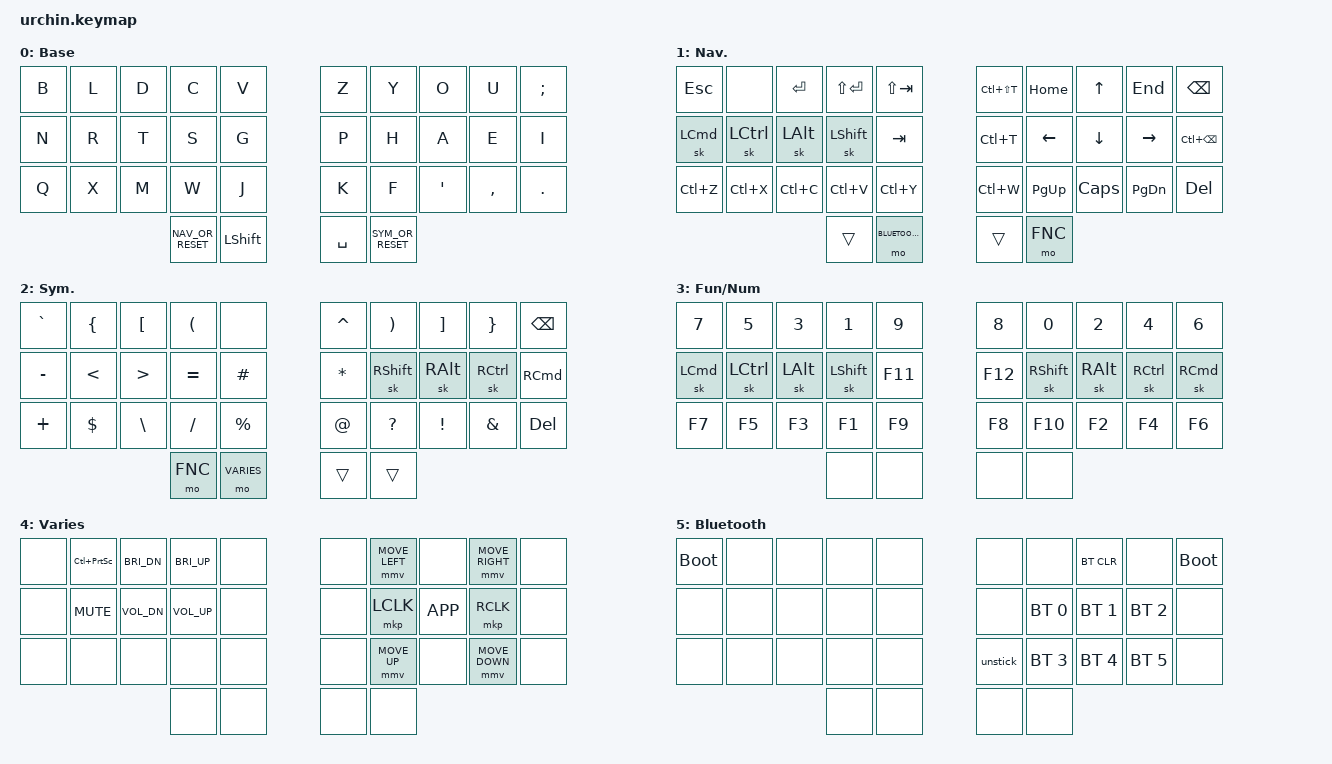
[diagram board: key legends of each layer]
/*
 * Copyright (c) 2020 duckyb
 *
 * SPDX-License-Identifier: MIT
 */

#include <behaviors.dtsi>
#include <dt-bindings/zmk/keys.h>
#include <dt-bindings/zmk/bt.h>
#include <dt-bindings/zmk/outputs.h>
#include <dt-bindings/zmk/pointing.h>
#include "keymap_italian.h"

// Layer definitions
#define BASE 0
#define NAV 1
#define SYM 2
#define FNC 3
#define VARIES 4
#define BLUETOOTH 5
// -----------------

&sk {
	// don't release mods on other mods presses
	ignore-modifiers;
	release-after-ms = <1000>;
	quick-release;
};

/*&mmv {
    time-to-max-speed-ms = <120>;
    acceleration-exponent = <6>;
};*/

/ {
	behaviors {
		// Enables holding the first mod-tap key
		// by performing a tap-release-hold sequence.
		// To use it: "&qt KEYCODE1 KEYCODE2"
		qt: quick_tap {
			compatible = "zmk,behavior-hold-tap";
			label = "QUICK_TAP";
			#binding-cells = <2>;
			flavor = "hold-preferred";
			tapping-term-ms = <200>;
			quick-tap-ms = <200>;
			bindings = <&kp>, <&kp>;
		};

		NAV_OR_RESET: nav_or_reset {
		    compatible = "zmk,behavior-tap-dance";
		    #binding-cells = <0>;
		    tapping-term-ms = <250>;
		    bindings = <&mo NAV>, <&to 0>;
		};
		SYM_OR_RESET: sym_or_reset {
		    compatible = "zmk,behavior-tap-dance";
		    #binding-cells = <0>;
		    tapping-term-ms = <250>;
		    bindings = <&mo SYM>, <&to 0>;
		};

	};

	macros {
		// sometimes my device thinks a modifier is being held down
		// pressing all modifiers fixes it.
		unstick: unstick {
			label = "ZM_unstick";
			compatible = "zmk,behavior-macro";
			#binding-cells = <0>;
			bindings = <&kp LSHIFT &kp RSHIFT &kp LCTRL &kp RCTRL &kp LALT &kp RALT &kp LGUI &kp RGUI>;
		};
	};

	/*combos {
		compatible = "zmk,combos";
		// both right thumb keys
		combo_accent {
			timeout-ms = <30>;
			key-positions = <32 33>;
			bindings = <&mo ACCENT_SYM2>;
		};
		// internal-left & external-right thumb keys
		combo_sym2 {
			timeout-ms = <30>;
			key-positions = <31 33>;
			bindings = <&mo SYM2>;
		};
		// both left thumb keys
		combo_settings {
			timeout-ms = <30>;
			key-positions = <30 31>;
			bindings = <&mo BLUETOOTH>;
		};
	};*/

	keymap {
		compatible = "zmk,keymap";
		// Base alpha layer
		default_layer {
			label = "Base";
			bindings = <
			&kp B &kp L &kp D &kp C &kp V          				&kp Z &kp Y &kp O   &kp U     &kp SEMI
			&kp N &kp R &kp T &kp S &kp G          				&kp P &kp H &kp A   &kp E     &kp I
			&kp Q &kp X &kp M &kp W &kp J          				&kp K &kp F &kp SQT &kp COMMA &kp DOT
						&NAV_OR_RESET  &kp LSHIFT          &kp SPACE  &SYM_OR_RESET
			>;
		};

		nav_layer {
			label = "Nav.";
			bindings = <
			&kp ESC   &none       &kp ENTER	  &kp LS(ENTER)	  &kp LS(TAB)       &kp LC(LS(T)) &kp HOME  &kp UP   &kp END   &kp BSPC
			&sk LCMD  &sk LCTRL 	&sk LALT  	&sk LSHIFT      &kp TAB           &kp LC(T)     &kp LEFT  &kp DOWN &kp RIGHT &kp LC(BSPC)
			&kp LC(Z) &kp LC(X) 	&kp LC(C) 	&kp LC(V)       &kp LC(Y)         &kp LC(W)     &kp PG_UP &kp CAPS &kp PG_DN &kp DEL
								  	                &trans &mo BLUETOOTH            &trans  &mo FNC
			>;
		};
		
		sym_layer {
			label = "Sym.";
			bindings = <
			&kp GRAVE &kp LBRC &kp LBKT &kp LPAR  &none				    &kp CARET &kp RPAR   &kp RBKT &kp RBRC  &kp BSPC
			&kp MINUS &kp LT   &kp GT   &kp EQUAL &kp HASH  			&kp STAR  &sk RSHIFT &sk RALT &sk RCTRL &kp RCMD
			&kp PLUS  &kp DLLR &kp BSLH &kp FSLH  &kp PRCNT				&kp AT    &kp QMARK  &kp EXCL &kp AMPS  &kp DEL
							                    &mo FNC  &mo VARIES      &trans &trans
			>;
		};

		fnc_layer {
			label = "Fun/Num";
			bindings = <
			&kp N7   &kp N5    &kp N3   &kp N1     &kp N9			&kp N8  &kp N0     &kp N2   &kp N4    &kp N6 
			&sk LCMD &sk LCTRL &sk LALT &sk LSHIFT &kp F11			&kp F12 &sk RSHIFT &sk RALT &sk RCTRL &sk RCMD
			&kp F7   &kp F5    &kp F3   &kp F1     &kp F9			&kp F8  &kp F10    &kp F2   &kp F4    &kp F6
							  	                &none &none        &none &none
			>;
		};

		varies_layer {
			label = "Varies";
			bindings = <
			&none &kp LC(PSCRN)  &kp C_BRI_DN &kp C_BRI_UP &none		&none &mmv MOVE_LEFT	&none		&mmv MOVE_RIGHT	&none
			&none &kp C_MUTE &kp C_VOL_DN &kp C_VOL_UP &none		&none &mkp LCLK		&kp K_APP	&mkp RCLK	&none
			&none &none      &none        &none        &none		&none &mmv MOVE_UP	&none		&mmv MOVE_DOWN	&none
								                &none &none          &none &none 
			>;
		};

		bluetooth_layer {
				label = "Bluetooth";
				bindings = <
				&bootloader &none &none &none &none               &none    &none        &bt BT_CLR   &none        &bootloader 
				&none       &none &none &none &none               &none    &bt BT_SEL 0 &bt BT_SEL 1 &bt BT_SEL 2 &none
				&none       &none &none &none &none               &unstick &bt BT_SEL 3 &bt BT_SEL 4 &bt BT_SEL 5 &none
							    &none &none       &none &none 
				>;
		};
	};
};
